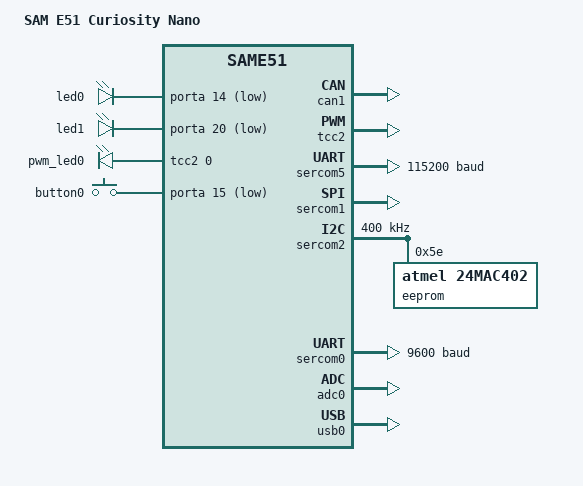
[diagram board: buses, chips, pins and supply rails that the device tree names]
/*
 * Copyright (c) 2019 Benjamin Valentin
 * Copyright (c) 2023 Sebastian Schlupp
 * SPDX-License-Identifier: Apache-2.0
 */

/dts-v1/;
#include <atmel/same5xx20.dtsi>
#include "atsame51_cnano-pinctrl.dtsi"
#include <zephyr/dt-bindings/input/input-event-codes.h>

/ {
	model = "SAM E51 Curiosity Nano";
	compatible = "atsame51,cnano", "atmel,same51j20a", "atmel,same51";

	chosen {
		zephyr,console = &sercom5;
		zephyr,shell-uart = &sercom5;
		zephyr,sram = &sram0;
		zephyr,flash = &flash0;
	};

	/* These aliases are provided for compatibility with samples */
	aliases {
		led0 = &led0;
		led1 = &led1;
		pwm-led0 = &pwm_led0;
		sw0 = &button0;
		i2c-0 = &sercom2;
		can0 = &can0;
	};

	leds {
		compatible = "gpio-leds";
		led0: led_0 {
			gpios = <&porta 14 GPIO_ACTIVE_LOW>;
			/*Usage of labels is actively discouraged for new implementations*/
			/*label = "Yellow LED";*/
		};
		led1: led_1 {
			gpios = <&porta 20 GPIO_ACTIVE_LOW>;
			/*Usage of labels is actively discouraged for new implementations*/
			/*label = "Spare LED";*/
		};
	};

	pwmleds {
		compatible = "pwm-leds";
		pwm_led0: pwm_led_0 {
			pwms = <&tcc2 0 PWM_MSEC(20)>;
		};
	};

	buttons {
		compatible = "gpio-keys";
		button0: button_0 {
			gpios = <&porta 15 (GPIO_PULL_UP | GPIO_ACTIVE_LOW)>;
			/*Usage of labels is actively discouraged for new implementations*/
			/*label = "SW0";*/
			zephyr,code = <INPUT_KEY_0>;
		};
	};
	soc {
		can1: can1 {
			reg = <0x42000400 0x400>;
			interrupts = "";
			clocks = "";
			clock-names = "";
			divider = "";
			compatible = "atmel,sam0-can";
			pinctrl-0 = <&can1_default>;
			pinctrl-names = "default";
		};
	};
};

&can1{
	status = "okay";
};

&tcc2 {
	status = "okay";
	compatible = "atmel,sam0-tcc-pwm";
	/* Gives a maximum period of 1.1s for 120MHz main clock */
	prescaler = <8>;
	#pwm-cells = <2>;

	pinctrl-0 = <&pwm_default>;
	pinctrl-names = "default";
};

&sercom5 {
	status = "okay";
	compatible = "atmel,sam0-uart";
	current-speed = <115200>;
	rxpo = <1>;
	txpo = <0>;
	#address-cells = <1>;
	#size-cells = <0>;

	pinctrl-0 = <&sercom5_uart_default>;
	pinctrl-names = "default";
};

&sercom1 {
	status = "okay";
	compatible = "atmel,sam0-spi";
	dipo = <3>;
	dopo = <0>;
	#address-cells = <1>;
	#size-cells = <0>;

	pinctrl-0 = <&sercom1_spi_default>;
	pinctrl-names = "default";
};

&sercom2 {
	status = "okay";
	compatible = "atmel,sam0-i2c";
	clock-frequency = <I2C_BITRATE_FAST>;
	#address-cells = <1>;
	#size-cells = <0>;

	pinctrl-0 = <&sercom2_i2c_default>;
	pinctrl-names = "default";

	eeprom: eeprom@5e {
		compatible = "atmel,24mac402";
		reg = <0x5e>;
	};
};

&sercom0 {
	status = "okay";
	compatible = "atmel,sam0-uart";
	current-speed = <9600>;
	rxpo = <1>;
	txpo = <0>;
	#address-cells = <1>;
	#size-cells = <0>;

	pinctrl-0 = <&sercom0_uart_default>;
	pinctrl-names = "default";
};

&adc0 {
	status = "okay";
};

zephyr_udc0: &usb0 {
	status = "okay";

	pinctrl-0 = <&usb_dc_default>;
	pinctrl-names = "default";
};
